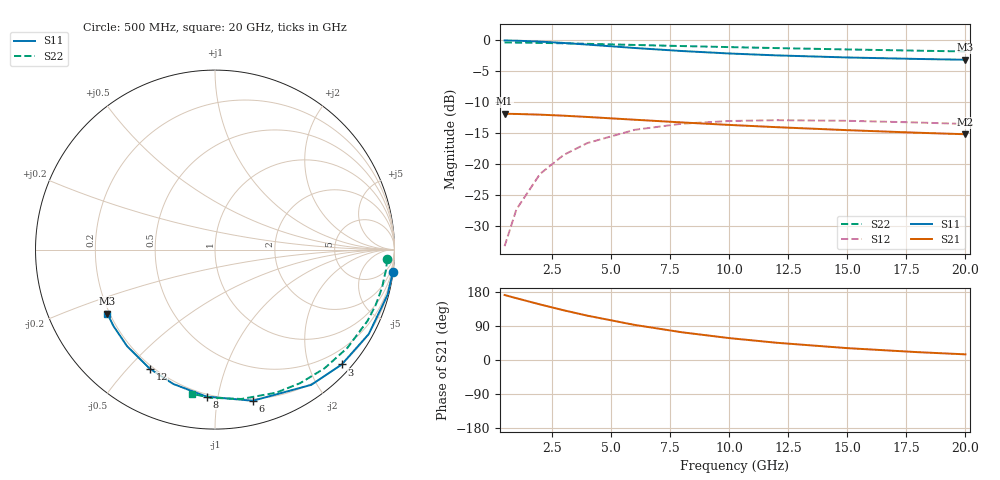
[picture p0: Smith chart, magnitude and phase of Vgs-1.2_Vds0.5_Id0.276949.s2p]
# Hz S RI R 50
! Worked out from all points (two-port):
!   12 points, 500 MHz to 20 GHz, reference 50 ohm
!   highest |S21| = -11.85 dB at 500 MHz (marker M1); lowest = -15.2 dB at 20 GHz (marker M2)
!   |S21| within 3 dB of the highest: start of sweep to 17.55 GHz
!   lowest |S11| = -3.1 dB at 20 GHz (marker M3), VSWR 5.61, Z = 9.56 - j13.3 ohm
!   |S11| at or under -10 dB: nowhere
!   |S22| runs from -1.8 to -0.3 dB; largest |S21 - S12| = 0.26
!   S11 on the Smith chart (normalised r, x): 500 MHz: 0, -16; 3 GHz: 0.18, -2.58; 6 GHz: 0.18, -1.26; 8 GHz: 0.19, -0.93; 12 GHz: 0.19, -0.58; 20 GHz: 0.19, -0.27
5e8  0.9903 -0.1276  -0.2527 0.0378  0.00208 0.0217  0.9595 -0.0543
1e9  0.9618 -0.251  -0.2436 0.0742  0.00819 0.0424  0.9535 -0.108
2e9  0.8564 -0.4709  -0.21 0.1382  0.0306 0.0778  0.9307 -0.2121
3e9  0.7063 -0.64  -0.1624 0.1855  0.0619 0.1015  0.8951 -0.3091
4e9  0.5364 -0.7535  -0.1093 0.2146  0.0963 0.1127  0.8494 -0.3979
6e9  0.2108 -0.8422  -0.0105 0.2286  0.1576 0.1053  0.7377 -0.5473
8e9  -0.0468 -0.8191  0.0629 0.2083  0.1983 0.0762  0.6094 -0.6621
1e10  -0.2323 -0.7487  0.1106 0.1759  0.2195 0.0415  0.4745 -0.7441
1.2e10  -0.3628 -0.664  0.1395 0.1422  0.2267 0.00884  0.3393 -0.7974
1.5e10  -0.4902 -0.538  0.161 0.098  0.2221 -0.0311  0.146 -0.8322
1.8e10  -0.5666 -0.4243  0.1681 0.0633  0.2088 -0.0597  -0.0267 -0.8251
2e10  -0.5998 -0.3563  0.1688 0.0449  0.1983 -0.0736  -0.1283 -0.8036
